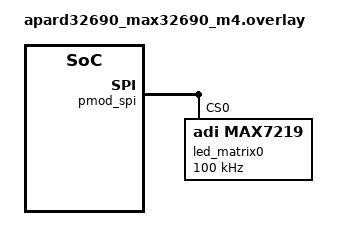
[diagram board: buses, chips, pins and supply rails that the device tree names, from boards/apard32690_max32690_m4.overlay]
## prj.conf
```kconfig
# Copyright (c) 2021 Nordic Semiconductor ASA
# SPDX-License-Identifier: Apache-2.0
#
# This file contains selected Kconfig options for the application.

CONFIG_SPI=y
CONFIG_MAX7219_LED_MATRIX=y
```

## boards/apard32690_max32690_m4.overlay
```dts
/ {
    aliases{
        led-matrix = &led_matrix0;
    };
};


&pmod_spi {

    status = "okay";    

    led_matrix0: max7219@0 {
        compatible = "adi,max7219";
        status = "okay";
        reg = <0>;
        spi-max-frequency = <100000>;
        intensity = <15>;
    };

};
```

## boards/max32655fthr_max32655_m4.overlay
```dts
/ {
    aliases{
        led-matrix = &led_matrix0;
    };
};


&spi1 {

    status = "okay";    

    led_matrix0: max7219@0 {
        compatible = "adi,max7219";
        status = "okay";
        reg = <0>;
        spi-max-frequency = <100000>;
        intensity = <15>;
    };

};
```

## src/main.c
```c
/*
 * Copyright (c) 2021 Nordic Semiconductor ASA
 * SPDX-License-Identifier: Apache-2.0
 */

#include <zephyr/kernel.h>
#include <zephyr/drivers/sensor.h>
#include <zephyr/logging/log.h>
#include <zephyr/drivers/spi.h>

#include "max7219.h"

#include <app_version.h>

#define TEST_EN 1
#define TEST_DIS 0

LOG_MODULE_REGISTER(main, CONFIG_APP_LOG_LEVEL);

int main (void){

	//Edit desired output on LED matrix
	uint8_t output[8]= {
		0b10000000,
		0b10100000,
		0b10001000,
		0b10000010,
		0b10000010,
		0b10001000,
		0b10100000,
		0b10000000

	};

	printk("MAX7219 LED matrix driver application.\n");

	 const struct device *led_matrix0 = DEVICE_DT_GET(DT_ALIAS(led_matrix));
	 const struct led_matrix_api *led_matr_api = (const struct led_matrix_api *)led_matrix0-> api;

	 led_matr_api->test(led_matrix0, TEST_EN);		//Enable test mode, all LEDs on
	 k_sleep(K_MSEC(1000));
	 led_matr_api->test(led_matrix0, TEST_DIS);		//Disable test mode, all LEDs off
	 k_sleep(K_MSEC(1000));

	 led_matr_api->write(led_matrix0, output);		//Write the array you have specified to the LED matrix

	 return 0;

}
```
